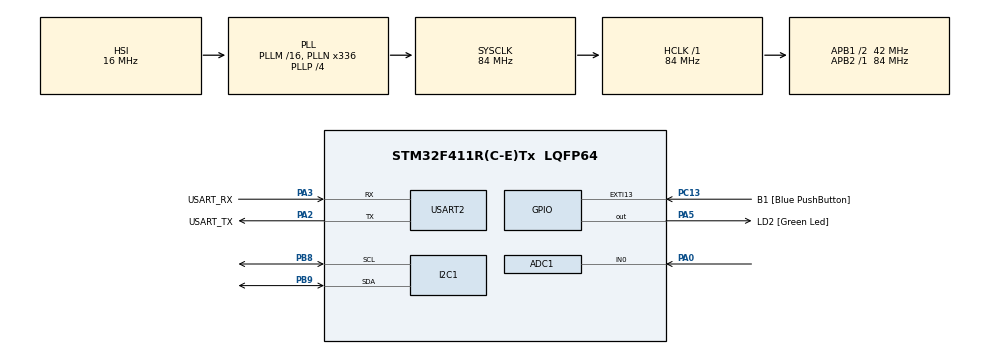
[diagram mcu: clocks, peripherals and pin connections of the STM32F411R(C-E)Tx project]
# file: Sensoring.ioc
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ADC1.Channel-0\#ChannelRegularConversion=ADC_CHANNEL_0
ADC1.NbrOfConversionFlag=1
ADC1.Rank-0\#ChannelRegularConversion=1
ADC1.SamplingTime-0\#ChannelRegularConversion=ADC_SAMPLETIME_84CYCLES
ADC1.master=1
Mcu.Family=STM32F4
Mcu.Name=STM32F411R(C-E)Tx
Mcu.Package=LQFP64
NVIC.PriorityGroup=NVIC_PRIORITYGROUP_0
PA0-WKUP.Signal=ADCx_IN0
PA13.GPIO_Label=TMS
PA13.Mode=Serial_Wire
PA13.Signal=SYS_JTMS-SWDIO
PA14.GPIO_Label=TCK
PA14.Mode=Serial_Wire
PA14.Signal=SYS_JTCK-SWCLK
PA2.GPIO_Label=USART_TX
PA2.Mode=Asynchronous
PA2.Signal=USART2_TX
PA3.GPIO_Label=USART_RX
PA3.Mode=Asynchronous
PA3.Signal=USART2_RX
PA5.GPIO_Label=LD2 [Green Led]
PA5.Signal=GPIO_Output
PB3.GPIO_Label=SWO
PB3.Signal=SYS_JTDO-SWO
PB8.Mode=I2C
PB8.Signal=I2C1_SCL
PB9.Mode=I2C
PB9.Signal=I2C1_SDA
PC13-ANTI_TAMP.GPIO_Label=B1 [Blue PushButton]
PC13-ANTI_TAMP.GPIO_ModeDefaultEXTI=GPIO_MODE_IT_FALLING
PC13-ANTI_TAMP.Signal=GPXTI13
PC14-OSC32_IN.Mode=LSE-External-Oscillator
PC14-OSC32_IN.Signal=RCC_OSC32_IN
PC15-OSC32_OUT.Mode=LSE-External-Oscillator
PC15-OSC32_OUT.Signal=RCC_OSC32_OUT
PH0\ -\ OSC_IN.Mode=HSE-External-Clock-Source
PH0\ -\ OSC_IN.Signal=RCC_OSC_IN
PH1\ -\ OSC_OUT.Mode=HSE-External-Clock-Source
PH1\ -\ OSC_OUT.Signal=RCC_OSC_OUT
ProjectManager.HeapSize=0x200
ProjectManager.StackSize=0x400
ProjectManager.TargetToolchain=Makefile
RCC.48MHZClocksFreq_Value=84000000
RCC.AHBFreq_Value=84000000
RCC.APB1CLKDivider=RCC_HCLK_DIV2
RCC.APB1Freq_Value=42000000
RCC.APB1TimFreq_Value=84000000
RCC.APB2Freq_Value=84000000
RCC.APB2TimFreq_Value=84000000
RCC.CortexFreq_Value=84000000
RCC.FLatency-AdvancedSettings=FLASH_LATENCY_2
RCC.HCLKFreq_Value=84000000
RCC.HSE_VALUE=8000000
RCC.HSI_VALUE=16000000
RCC.PLLN=336
RCC.PLLP=RCC_PLLP_DIV4
RCC.SYSCLKFreq_VALUE=84000000
RCC.SYSCLKSource=RCC_SYSCLKSOURCE_PLLCLK
RCC.VCOOutputFreq_Value=336000000
SH.ADCx_IN0.0=ADC1_IN0,IN0
USART2.VirtualMode=VM_ASYNC
board=NUCLEO-F411RE

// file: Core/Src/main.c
/* USER CODE BEGIN Header */
/**
  ******************************************************************************
  * @file           : main.c
  * @brief          : Main program body
  ******************************************************************************
  * @attention
  *
  * Copyright (c) 2026 STMicroelectronics.
  * All rights reserved.
  *
  * This software is licensed under terms that can be found in the LICENSE file
  * in the root directory of this software component.
  * If no LICENSE file comes with this software, it is provided AS-IS.
  *
  ******************************************************************************
  */
/* USER CODE END Header */
#include "main.h"
#include "adc.h"
#include "i2c.h"
#include "usart.h"
#include "gpio.h"

/* USER CODE BEGIN Includes */
#include "temperature_sensors.h"
#include <stdio.h>
/* USER CODE END Includes */

/* USER CODE BEGIN PD */
#define SAMPLE_PERIOD_MS 250U
#define LED_PERIOD_MS 500U
/* USER CODE END PD */

void SystemClock_Config(void);

int main(void)
{

  /* USER CODE BEGIN 1 */
  uint32_t last_sample_ms = 0;
  uint32_t last_blink_ms = 0;
  TemperatureSample sample;
  char line[96];
  /* USER CODE END 1 */

  /* MCU Configuration--------------------------------------------------------*/

  /* Reset of all peripherals, Initializes the Flash interface and the Systick. */
  HAL_Init();

  /* Configure the system clock */
  SystemClock_Config();

  /* Initialize all configured peripherals */
  MX_GPIO_Init();
  MX_ADC1_Init();
  MX_I2C1_Init();
  MX_USART2_UART_Init();
  /* USER CODE BEGIN 2 */
  const char header[] = "time_ms,mcp9808_c,tmp36_c,mcp_status,tmp_status\r\n";
  (void)HAL_UART_Transmit(&huart2, (uint8_t *)header, sizeof(header) - 1, 100);
  /* USER CODE END 2 */

  /* Infinite loop */
  while (1)
  {

    /* USER CODE BEGIN 3 */
    uint32_t now = HAL_GetTick();
    if ((uint32_t)(now - last_blink_ms) >= LED_PERIOD_MS)
    {
      last_blink_ms = now;
      HAL_GPIO_TogglePin(LD2_GPIO_Port, LD2_Pin);
    }
    if ((uint32_t)(now - last_sample_ms) >= SAMPLE_PERIOD_MS)
    {
      last_sample_ms = now;
      TemperatureSensors_Read(&sample);
      int length = snprintf(line, sizeof(line), "%lu,%.4f,%.4f,%u,%u\r\n",
                            (unsigned long)sample.time_ms,
                            (double)sample.mcp9808_c, (double)sample.tmp36_c,
                            (unsigned int)sample.mcp_status,
                            (unsigned int)sample.tmp_status);
      if (length > 0 && length < (int)sizeof(line))
      {
        (void)HAL_UART_Transmit(&huart2, (uint8_t *)line, (uint16_t)length, 100);
      }
    }
    HAL_Delay(1);
  }
  /* USER CODE END 3 */
}

void SystemClock_Config(void)
{
  RCC_OscInitTypeDef RCC_OscInitStruct = {0};
  RCC_ClkInitTypeDef RCC_ClkInitStruct = {0};

  /** Configure the main internal regulator output voltage
  */
  __HAL_RCC_PWR_CLK_ENABLE();
  __HAL_PWR_VOLTAGESCALING_CONFIG(PWR_REGULATOR_VOLTAGE_SCALE1);

  /** Initializes the RCC Oscillators according to the specified parameters
  * in the RCC_OscInitTypeDef structure.
  */
  RCC_OscInitStruct.OscillatorType = RCC_OSCILLATORTYPE_HSI;
  RCC_OscInitStruct.HSIState = RCC_HSI_ON;
  RCC_OscInitStruct.HSICalibrationValue = RCC_HSICALIBRATION_DEFAULT;
  RCC_OscInitStruct.PLL.PLLState = RCC_PLL_ON;
  RCC_OscInitStruct.PLL.PLLSource = RCC_PLLSOURCE_HSI;
  RCC_OscInitStruct.PLL.PLLM = 16;
  RCC_OscInitStruct.PLL.PLLN = 336;
  RCC_OscInitStruct.PLL.PLLP = RCC_PLLP_DIV4;
  RCC_OscInitStruct.PLL.PLLQ = 4;
  if (HAL_RCC_OscConfig(&RCC_OscInitStruct) != HAL_OK)
  {
    Error_Handler();
  }

  /** Initializes the CPU, AHB and APB buses clocks
  */
  RCC_ClkInitStruct.ClockType = RCC_CLOCKTYPE_HCLK|RCC_CLOCKTYPE_SYSCLK
                              |RCC_CLOCKTYPE_PCLK1|RCC_CLOCKTYPE_PCLK2;
  RCC_ClkInitStruct.SYSCLKSource = RCC_SYSCLKSOURCE_PLLCLK;
  RCC_ClkInitStruct.AHBCLKDivider = RCC_SYSCLK_DIV1;
  RCC_ClkInitStruct.APB1CLKDivider = RCC_HCLK_DIV2;
  RCC_ClkInitStruct.APB2CLKDivider = RCC_HCLK_DIV1;

  if (HAL_RCC_ClockConfig(&RCC_ClkInitStruct, FLASH_LATENCY_2) != HAL_OK)
  {
    Error_Handler();
  }
}

void Error_Handler(void)
{
  __disable_irq();
  while (1)
  {
  }
}
